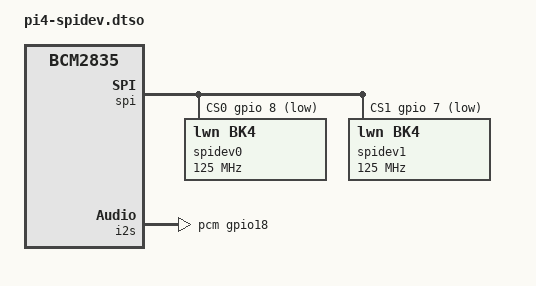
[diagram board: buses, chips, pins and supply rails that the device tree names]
// https://www.evolware.org/2021/02/21/using-spidev-with-mainline-linux-kernel-on-the-raspberry-pi-4/
// adopted to the definitions in the raspberrypi kernel
/dts-v1/;
/plugin/;

/ {
	compatible = "brcm,bcm2835";
};

&gpio {
	// from bcm2711-rpi-ds.dtsi
	spi0_pins: spi0_pins {
		brcm,pins = <9 10 11>;
		// bcm2835.h: #define BCM2835_FSEL_ALT0 4
		brcm,function = <4>;
	};

	spi0_cs_pins: spi0_cs_pins {
		brcm,pins = <8 7>;
		// bcm2835.h:#define BCM2835_FSEL_GPIO_OUT 1
		brcm,function = <1>;
	};
};

&spi {
	status = "okay";
	// from bcm2711-rpi-4-b.dts
	pinctrl-names = "default";
	pinctrl-0 = <&spi0_pins &spi0_cs_pins>;
	cs-gpios = <&gpio 8 1>, <&gpio 7 1>;

	spidev0: spidev@0 {
		compatible = "lwn,bk4";  // "spidev";
		reg = <0>;	/* CE0 */
		#address-cells = <1>;
		#size-cells = <0>;
		spi-max-frequency = <125000000>;
	};

	spidev1: spidev@1 {
		compatible = "lwn,bk4";  // "spidev";
		reg = <1>;	/* CE1 */
		#address-cells = <1>;
		#size-cells = <0>;
		spi-max-frequency = <125000000>;
	};
};

&i2s {
	status = "okay";
	// from bcm270x.dtsi
	#sound-dai-cells = <0>;
	dmas = <&dma 2>, <&dma 3>;
	dma-names = "tx", "rx";
	// from bcm2711-rpi-4-b.dts
	pinctrl-names = "default";
	pinctrl-0 = <&pcm_gpio18>;  // <&i2s_pins>;
};
